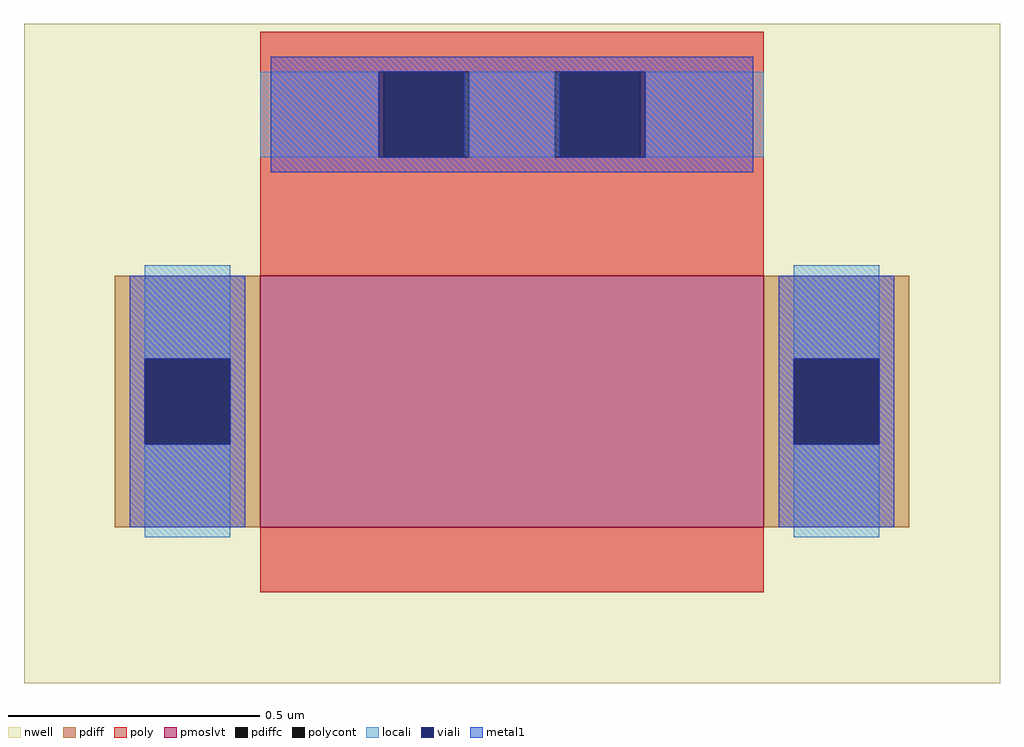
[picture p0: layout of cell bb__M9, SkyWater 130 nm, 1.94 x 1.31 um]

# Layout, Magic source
magic
tech sky130A
magscale 1 2
<< nwell >>
rect -194 -148 194 114
<< pmoslvt >>
rect -100 -86 100 14
<< pdiff >>
rect -158 -19 -100 14
rect -158 -53 -146 -19
rect -112 -53 -100 -19
rect -158 -86 -100 -53
rect 100 -19 158 14
rect 100 -53 112 -19
rect 146 -53 158 -19
rect 100 -86 158 -53
<< pdiffc >>
rect -146 -53 -112 -19
rect 112 -53 146 -19
<< poly >>
rect -100 95 100 111
rect -100 61 -51 95
rect -17 61 17 95
rect 51 61 100 95
rect -100 14 100 61
rect -100 -112 100 -86
<< polycont >>
rect -51 61 -17 95
rect 17 61 51 95
<< locali >>
rect -100 61 -53 95
rect -17 61 17 95
rect 53 61 100 95
rect -146 -19 -112 18
rect -146 -90 -112 -53
rect 112 -19 146 18
rect 112 -90 146 -53
<< viali >>
rect -53 61 -51 95
rect -51 61 -19 95
rect 19 61 51 95
rect 51 61 53 95
rect -146 -53 -112 -19
rect 112 -53 146 -19
<< metal1 >>
rect -96 95 96 101
rect -96 61 -53 95
rect -19 61 19 95
rect 53 61 96 95
rect -96 55 96 61
rect -152 -19 -106 14
rect -152 -53 -146 -19
rect -112 -53 -106 -19
rect -152 -86 -106 -53
rect 106 -19 152 14
rect 106 -53 112 -19
rect 146 -53 152 -19
rect 106 -86 152 -53
<< end >>
